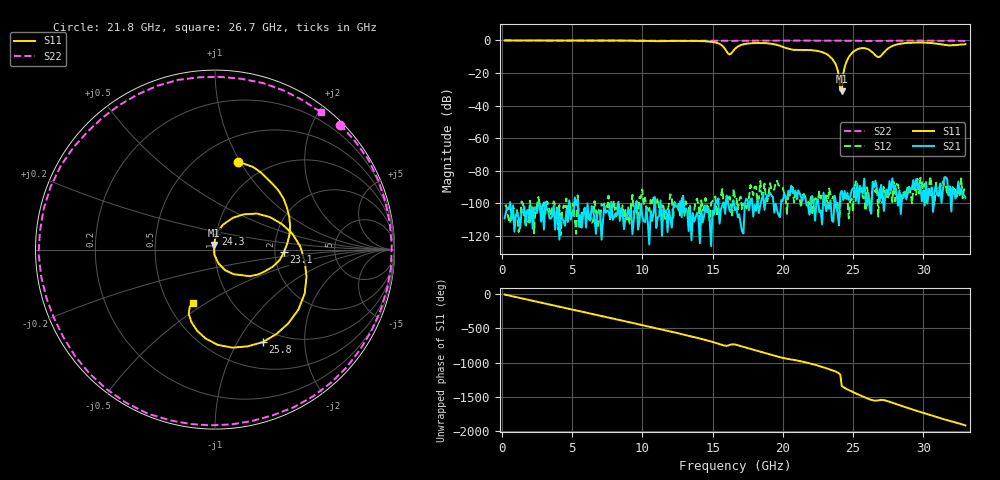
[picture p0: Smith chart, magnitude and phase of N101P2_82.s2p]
# GHZ S RI R 50
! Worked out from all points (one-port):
!   329 points, 200 MHz to 33 GHz, reference 50 ohm
!   lowest |S11| = -31.3 dB at 24.2 GHz (marker M1), VSWR 1.06, Z = 49.3 + j2.61 ohm
!   |S11| at or under -10 dB: 23.36 GHz to 24.72 GHz (1.358 GHz wide, 5.65 % of centre); 26.74 GHz to 26.91 GHz (168.7 MHz wide, 0.629 % of centre)
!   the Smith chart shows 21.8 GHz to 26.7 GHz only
!   S11 on the Smith chart (normalised r, x): 21.8 GHz: 0.74, +0.98; 23.1 GHz: 2.25, -0.06; 24.3 GHz: 1.00, +0.18; 25.8 GHz: 0.83, -1.28; 26.7 GHz: 0.67, -0.44
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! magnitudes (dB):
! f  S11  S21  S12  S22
! 200 MHz  0.0  -109.3  -101.7  0.0
! 5.7 GHz  -0.1  -114.9  -104.8  -0.1
! 11.2 GHz  -0.4  -107.8  -103.5  -0.1
! 15.2 GHz  -1.2  -100.1  -95.9  -0.2
! 16.2 GHz  -8.6  -104.2  -95.9  -0.2
! 16.6 GHz  -5.1  -104.4  -96.5  -0.2
! 18.5 GHz  -1.6  -97.5  -94.6  -0.1
! 21.8 GHz  -5.9  -101.4  -99.0  -0.1
! 22.1 GHz  -6.0  -95.5  -107.3  -0.1
! 23.1 GHz  -8.3  -104.9  -95.2  -0.1
! 23.8 GHz  -15.3  -100.8  -102.1  -0.2
! 24 GHz  -22.1  -113.0  -113.6  -0.1
! 24.1 GHz  -30.9  -94.1  -98.9  -0.1
! 24.2 GHz  -31.3  -92.4  -98.1  -0.1
! 24.3 GHz  -21.1  -97.6  -98.9  -0.2
! 24.5 GHz  -13.8  -97.3  -95.1  -0.2
! 24.8 GHz  -9.0  -96.0  -98.9  -0.2
! 25.8 GHz  -4.7  -84.9  -96.2  -0.3
! 26.7 GHz  -9.9  -90.9  -89.8  -0.3
! 27.6 GHz  -4.3  -86.4  -93.9  -0.2
! 29.2 GHz  -1.4  -90.5  -100.1  -0.1
! 33 GHz  -2.3  -96.6  -91.5  -0.3
